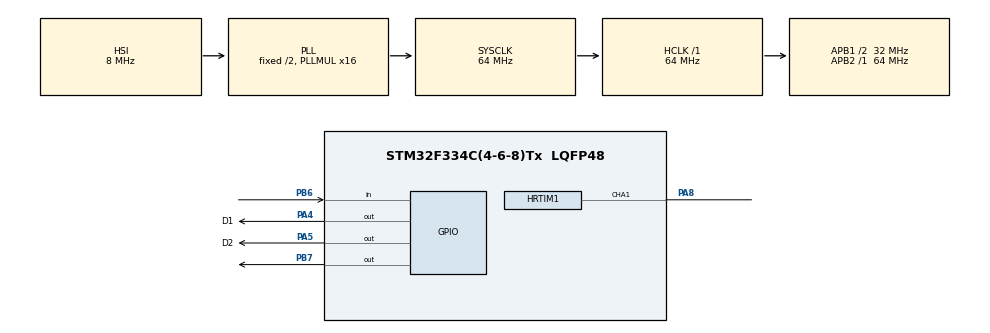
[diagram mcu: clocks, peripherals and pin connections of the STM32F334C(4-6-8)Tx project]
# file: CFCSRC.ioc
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HRTIM1.ChopperModeconfig-Output_TA1=__NULL
HRTIM1.CompareUnit1-Output_TA1=HRTIM_COMPAREUNIT_1
HRTIM1.CompareValue1-Output_TA1=400
HRTIM1.Configuration_TA=Waveform
HRTIM1.HRTIMInterruptResquests1=HRTIM_IT_NONE
HRTIM1.InterruptRequests1-Output_TA1=HRTIM_TIM_IT_RST1
HRTIM1.NumberInterruptRequests-Output_TA1=1
HRTIM1.NumberResetSource1-Output_TA1=1
HRTIM1.NumberSetSource1-Output_TA1=1
HRTIM1.OCChannel_TA1=__NULL
HRTIM1.PWMChannel_TA1=HRTIM_OUTPUT_TA1
HRTIM1.PWMPulse_TA1=100
HRTIM1.Periode_TA=800
HRTIM1.Polarity1-Output_TA1=HRTIM_OUTPUTPOLARITY_HIGH
HRTIM1.PreloadEnable-Output_TA1=HRTIM_PRELOAD_ENABLED
HRTIM1.PrescalerRatio_TA=HRTIM_PRESCALERRATIO_DIV1
HRTIM1.RepetitionCounter-Output_TA1=0x00
HRTIM1.ResetOutput1_Source1-Output_TA1=HRTIM_OUTPUTRESET_TIMPER
HRTIM1.ResetUpdate-Output_TA1=HRTIM_TIMUPDATEONRESET_ENABLED
HRTIM1.SetOutput1_Source1-Output_TA1=HRTIM_OUTPUTSET_TIMCMP1
Mcu.Family=STM32F3
Mcu.Name=STM32F334C(4-6-8)Tx
Mcu.Package=LQFP48
NVIC.HRTIM1_TIMA_IRQn=true\:0\:0\:true\:false\:true\:true
NVIC.PriorityGroup=NVIC_PRIORITYGROUP_4
NVIC.RCC_IRQn=true\:1\:0\:true\:false\:true\:true
PA4.GPIO_Label=D1
PA4.GPIO_PuPd=GPIO_PULLUP
PA4.GPIO_Speed=GPIO_SPEED_FREQ_MEDIUM
PA4.PinState=GPIO_PIN_SET
PA4.Signal=GPIO_Output
PA5.GPIO_Label=D2
PA5.GPIO_PuPd=GPIO_PULLDOWN
PA5.GPIO_Speed=GPIO_SPEED_FREQ_HIGH
PA5.Signal=GPIO_Output
PA8.GPIO_PuPd=GPIO_NOPULL
PA8.Mode=Output_TA1
PA8.Signal=HRTIM1_CHA1
PB6.GPIO_PuPd=GPIO_PULLDOWN
PB6.Signal=GPIO_Input
PB7.GPIO_PuPd=GPIO_PULLUP
PB7.PinState=GPIO_PIN_SET
PB7.Signal=GPIO_Output
ProjectManager.HeapSize=0x200
ProjectManager.StackSize=0x400
ProjectManager.TargetToolchain=TrueSTUDIO
RCC.AHBFreq_Value=64000000
RCC.APB1CLKDivider=RCC_HCLK_DIV2
RCC.APB1Freq_Value=32000000
RCC.APB1TimFreq_Value=64000000
RCC.APB2Freq_Value=64000000
RCC.APB2TimFreq_Value=64000000
RCC.CortexFreq_Value=64000000
RCC.HCLKFreq_Value=64000000
RCC.HSE_VALUE=8000000
RCC.HSI_VALUE=8000000
RCC.LSE_VALUE=32768
RCC.PLLMUL=RCC_PLL_MUL16
RCC.SYSCLKFreq_VALUE=64000000
RCC.SYSCLKSourceVirtual=RCC_SYSCLKSOURCE_PLLCLK
board=CFCSRC

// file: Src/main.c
/**
  ******************************************************************************
  * File Name          : main.c
  * Description        : Main program body
  ******************************************************************************
  ** This notice applies to any and all portions of this file
  * that are not between comment pairs USER CODE BEGIN and
  * USER CODE END. Other portions of this file, whether
  * inserted by the user or by software development tools
  * are owned by their respective copyright owners.
  *
  * COPYRIGHT(c) 2017 STMicroelectronics
  *
  * Redistribution and use in source and binary forms, with or without modification,
  * are permitted provided that the following conditions are met:
  *   1. Redistributions of source code must retain the above copyright notice,
  *      this list of conditions and the following disclaimer.
  *   2. Redistributions in binary form must reproduce the above copyright notice,
  *      this list of conditions and the following disclaimer in the documentation
  *      and/or other materials provided with the distribution.
  *   3. Neither the name of STMicroelectronics nor the names of its contributors
  *      may be used to endorse or promote products derived from this software
  *      without specific prior written permission.
  *
  * THIS SOFTWARE IS PROVIDED BY THE COPYRIGHT HOLDERS AND CONTRIBUTORS "AS IS"
  * AND ANY EXPRESS OR IMPLIED WARRANTIES, INCLUDING, BUT NOT LIMITED TO, THE
  * IMPLIED WARRANTIES OF MERCHANTABILITY AND FITNESS FOR A PARTICULAR PURPOSE ARE
  * DISCLAIMED. IN NO EVENT SHALL THE COPYRIGHT HOLDER OR CONTRIBUTORS BE LIABLE
  * FOR ANY DIRECT, INDIRECT, INCIDENTAL, SPECIAL, EXEMPLARY, OR CONSEQUENTIAL
  * DAMAGES (INCLUDING, BUT NOT LIMITED TO, PROCUREMENT OF SUBSTITUTE GOODS OR
  * SERVICES; LOSS OF USE, DATA, OR PROFITS; OR BUSINESS INTERRUPTION) HOWEVER
  * CAUSED AND ON ANY THEORY OF LIABILITY, WHETHER IN CONTRACT, STRICT LIABILITY,
  * OR TORT (INCLUDING NEGLIGENCE OR OTHERWISE) ARISING IN ANY WAY OUT OF THE USE
  * OF THIS SOFTWARE, EVEN IF ADVISED OF THE POSSIBILITY OF SUCH DAMAGE.
  *
  ******************************************************************************
  */
#include "main.h"
#include "stm32f3xx_hal.h"

/* USER CODE BEGIN Includes */

// HRTIM constants and macros
#define kSystemClock 64000000
#define kTimerClockPrescale 1
#define kTimerPllMult 16
#define kTimerTicksPerSecond kSystemClock*kTimerClockPrescale
#define getTicksFromFreq(freq) (kTimerTicksPerSecond/freq)
#define getTicksFromDutyCycle(freq, duty) duty*getTicksFromFreq(freq)

/* USER CODE END Includes */

HRTIM_HandleTypeDef hhrtim1;

/* USER CODE BEGIN PV */
/* Private variables ---------------------------------------------------------*/

/* USER CODE END PV */

void SystemClock_Config(void);
static void MX_GPIO_Init(void);
static void MX_HRTIM1_Init(void);
void HAL_HRTIM_MspPostInit(HRTIM_HandleTypeDef *hhrtim);

/* USER CODE BEGIN PFP */
/* Private function prototypes -----------------------------------------------*/

/* USER CODE END PFP */

/* USER CODE BEGIN 0 */

uint32_t hrtim1_per_register = 0;
uint32_t hrtim1_cmp1_register = 0;

void timerSetFrequency(uint32_t freq) {
	HRTIM1->sTimerxRegs[HRTIM_TIMERINDEX_TIMER_A].PERxR = getTicksFromFreq(freq);
	hrtim1_per_register = HRTIM1->sTimerxRegs[HRTIM_TIMERINDEX_TIMER_A].PERxR;
}

void timerSetdutyCycle(uint32_t duty, uint32_t freq) {
	HRTIM1->sTimerxRegs[HRTIM_TIMERINDEX_TIMER_A].CMP1xR = (duty*getTicksFromFreq(freq))/(1000*100);
	hrtim1_cmp1_register = HRTIM1->sTimerxRegs[HRTIM_TIMERINDEX_TIMER_A].CMP1xR;
}

/* USER CODE END 0 */

int main(void)
{

  /* MCU Configuration----------------------------------------------------------*/

  /* Reset of all peripherals, Initializes the Flash interface and the Systick. */
  HAL_Init();

  /* Configure the system clock */
  SystemClock_Config();

  /* Initialize all configured peripherals */
  MX_GPIO_Init();
  MX_HRTIM1_Init();

  /* USER CODE BEGIN 2 */

  // Start HRTIM
  //HAL_HRTIM_WaveformOutputStart(&hhrtim1, HRTIM_OUTPUT_TA1);
  //HAL_HRTIM_WaveformCounterStart_IT(&hhrtim1, HRTIM_TIMERID_TIMER_A);
  timerSetFrequency(300000);
  timerSetdutyCycle(50*1000, 300000);
  /* USER CODE END 2 */

  /* Infinite loop */
  while (1)
  {

  }

}

/** System Clock Configuration
*/
void SystemClock_Config(void)
{

  RCC_OscInitTypeDef RCC_OscInitStruct;
  RCC_ClkInitTypeDef RCC_ClkInitStruct;
  RCC_PeriphCLKInitTypeDef PeriphClkInit;

    /**Initializes the CPU, AHB and APB busses clocks
    */
  RCC_OscInitStruct.OscillatorType = RCC_OSCILLATORTYPE_HSI;
  RCC_OscInitStruct.HSIState = RCC_HSI_ON;
  RCC_OscInitStruct.HSICalibrationValue = 16;
  RCC_OscInitStruct.PLL.PLLState = RCC_PLL_ON;
  RCC_OscInitStruct.PLL.PLLSource = RCC_PLLSOURCE_HSI;
  RCC_OscInitStruct.PLL.PLLMUL = RCC_PLL_MUL16;
  if (HAL_RCC_OscConfig(&RCC_OscInitStruct) != HAL_OK)
  {
    _Error_Handler(__FILE__, __LINE__);
  }

    /**Initializes the CPU, AHB and APB busses clocks
    */
  RCC_ClkInitStruct.ClockType = RCC_CLOCKTYPE_HCLK|RCC_CLOCKTYPE_SYSCLK
                              |RCC_CLOCKTYPE_PCLK1|RCC_CLOCKTYPE_PCLK2;
  RCC_ClkInitStruct.SYSCLKSource = RCC_SYSCLKSOURCE_PLLCLK;
  RCC_ClkInitStruct.AHBCLKDivider = RCC_SYSCLK_DIV1;
  RCC_ClkInitStruct.APB1CLKDivider = RCC_HCLK_DIV2;
  RCC_ClkInitStruct.APB2CLKDivider = RCC_HCLK_DIV1;

  if (HAL_RCC_ClockConfig(&RCC_ClkInitStruct, FLASH_LATENCY_2) != HAL_OK)
  {
    _Error_Handler(__FILE__, __LINE__);
  }

  PeriphClkInit.PeriphClockSelection = RCC_PERIPHCLK_HRTIM1;
  PeriphClkInit.Hrtim1ClockSelection = RCC_HRTIM1CLK_HCLK;
  if (HAL_RCCEx_PeriphCLKConfig(&PeriphClkInit) != HAL_OK)
  {
    _Error_Handler(__FILE__, __LINE__);
  }

    /**Configure the Systick interrupt time
    */
  HAL_SYSTICK_Config(HAL_RCC_GetHCLKFreq()/1000);

    /**Configure the Systick
    */
  HAL_SYSTICK_CLKSourceConfig(SYSTICK_CLKSOURCE_HCLK);

  /* SysTick_IRQn interrupt configuration */
  HAL_NVIC_SetPriority(SysTick_IRQn, 0, 0);
}

/* HRTIM1 init function */
static void MX_HRTIM1_Init(void)
{

  HRTIM_TimeBaseCfgTypeDef pTimeBaseCfg;
  HRTIM_TimerCfgTypeDef pTimerCfg;
  HRTIM_CompareCfgTypeDef pCompareCfg;
  HRTIM_OutputCfgTypeDef pOutputCfg;

  hhrtim1.Instance = HRTIM1;
  hhrtim1.Init.HRTIMInterruptResquests = HRTIM_IT_NONE;
  hhrtim1.Init.SyncOptions = HRTIM_SYNCOPTION_NONE;
  if (HAL_HRTIM_Init(&hhrtim1) != HAL_OK)
  {
    _Error_Handler(__FILE__, __LINE__);
  }

  pTimeBaseCfg.Period = 800;
  pTimeBaseCfg.RepetitionCounter = 0x00;
  pTimeBaseCfg.PrescalerRatio = HRTIM_PRESCALERRATIO_DIV1;
  pTimeBaseCfg.Mode = HRTIM_MODE_CONTINUOUS;
  if (HAL_HRTIM_TimeBaseConfig(&hhrtim1, HRTIM_TIMERINDEX_TIMER_A, &pTimeBaseCfg) != HAL_OK)
  {
    _Error_Handler(__FILE__, __LINE__);
  }

  pTimerCfg.InterruptRequests = HRTIM_TIM_IT_RST1;
  pTimerCfg.DMARequests = HRTIM_TIM_DMA_NONE;
  pTimerCfg.DMASrcAddress = 0x0000;
  pTimerCfg.DMADstAddress = 0x0000;
  pTimerCfg.DMASize = 0x1;
  pTimerCfg.HalfModeEnable = HRTIM_HALFMODE_DISABLED;
  pTimerCfg.StartOnSync = HRTIM_SYNCSTART_DISABLED;
  pTimerCfg.ResetOnSync = HRTIM_SYNCRESET_DISABLED;
  pTimerCfg.DACSynchro = HRTIM_DACSYNC_NONE;
  pTimerCfg.PreloadEnable = HRTIM_PRELOAD_ENABLED;
  pTimerCfg.UpdateGating = HRTIM_UPDATEGATING_INDEPENDENT;
  pTimerCfg.BurstMode = HRTIM_TIMERBURSTMODE_MAINTAINCLOCK;
  pTimerCfg.RepetitionUpdate = HRTIM_UPDATEONREPETITION_DISABLED;
  pTimerCfg.PushPull = HRTIM_TIMPUSHPULLMODE_DISABLED;
  pTimerCfg.FaultEnable = HRTIM_TIMFAULTENABLE_NONE;
  pTimerCfg.FaultLock = HRTIM_TIMFAULTLOCK_READWRITE;
  pTimerCfg.DeadTimeInsertion = HRTIM_TIMDEADTIMEINSERTION_DISABLED;
  pTimerCfg.DelayedProtectionMode = HRTIM_TIMER_A_B_C_DELAYEDPROTECTION_DISABLED;
  pTimerCfg.UpdateTrigger = HRTIM_TIMUPDATETRIGGER_NONE;
  pTimerCfg.ResetTrigger = HRTIM_TIMRESETTRIGGER_NONE;
  pTimerCfg.ResetUpdate = HRTIM_TIMUPDATEONRESET_ENABLED;
  if (HAL_HRTIM_WaveformTimerConfig(&hhrtim1, HRTIM_TIMERINDEX_TIMER_A, &pTimerCfg) != HAL_OK)
  {
    _Error_Handler(__FILE__, __LINE__);
  }

  pCompareCfg.CompareValue = 400;
  if (HAL_HRTIM_WaveformCompareConfig(&hhrtim1, HRTIM_TIMERINDEX_TIMER_A, HRTIM_COMPAREUNIT_1, &pCompareCfg) != HAL_OK)
  {
    _Error_Handler(__FILE__, __LINE__);
  }

  pOutputCfg.Polarity = HRTIM_OUTPUTPOLARITY_HIGH;
  pOutputCfg.SetSource = HRTIM_OUTPUTSET_TIMCMP1;
  pOutputCfg.ResetSource = HRTIM_OUTPUTRESET_TIMPER;
  pOutputCfg.IdleMode = HRTIM_OUTPUTIDLEMODE_NONE;
  pOutputCfg.IdleLevel = HRTIM_OUTPUTIDLELEVEL_INACTIVE;
  pOutputCfg.FaultLevel = HRTIM_OUTPUTFAULTLEVEL_NONE;
  pOutputCfg.ChopperModeEnable = HRTIM_OUTPUTCHOPPERMODE_DISABLED;
  pOutputCfg.BurstModeEntryDelayed = HRTIM_OUTPUTBURSTMODEENTRY_REGULAR;
  if (HAL_HRTIM_WaveformOutputConfig(&hhrtim1, HRTIM_TIMERINDEX_TIMER_A, HRTIM_OUTPUT_TA1, &pOutputCfg) != HAL_OK)
  {
    _Error_Handler(__FILE__, __LINE__);
  }

  HAL_HRTIM_MspPostInit(&hhrtim1);

}

/** Configure pins as
        * Analog
        * Input
        * Output
        * EVENT_OUT
        * EXTI
*/
static void MX_GPIO_Init(void)
{

  GPIO_InitTypeDef GPIO_InitStruct;

  /* GPIO Ports Clock Enable */
  __HAL_RCC_GPIOA_CLK_ENABLE();
  __HAL_RCC_GPIOB_CLK_ENABLE();

  /*Configure GPIO pin Output Level */
  HAL_GPIO_WritePin(D1_GPIO_Port, D1_Pin, GPIO_PIN_SET);

  /*Configure GPIO pin Output Level */
  HAL_GPIO_WritePin(D2_GPIO_Port, D2_Pin, GPIO_PIN_RESET);

  /*Configure GPIO pin Output Level */
  HAL_GPIO_WritePin(GPIOB, GPIO_PIN_7, GPIO_PIN_SET);

  /*Configure GPIO pin : D1_Pin */
  GPIO_InitStruct.Pin = D1_Pin;
  GPIO_InitStruct.Mode = GPIO_MODE_OUTPUT_PP;
  GPIO_InitStruct.Pull = GPIO_PULLUP;
  GPIO_InitStruct.Speed = GPIO_SPEED_FREQ_MEDIUM;
  HAL_GPIO_Init(D1_GPIO_Port, &GPIO_InitStruct);

  /*Configure GPIO pin : D2_Pin */
  GPIO_InitStruct.Pin = D2_Pin;
  GPIO_InitStruct.Mode = GPIO_MODE_OUTPUT_PP;
  GPIO_InitStruct.Pull = GPIO_PULLDOWN;
  GPIO_InitStruct.Speed = GPIO_SPEED_FREQ_HIGH;
  HAL_GPIO_Init(D2_GPIO_Port, &GPIO_InitStruct);

  /*Configure GPIO pin : PB6 */
  GPIO_InitStruct.Pin = GPIO_PIN_6;
  GPIO_InitStruct.Mode = GPIO_MODE_INPUT;
  GPIO_InitStruct.Pull = GPIO_PULLDOWN;
  HAL_GPIO_Init(GPIOB, &GPIO_InitStruct);

  /*Configure GPIO pin : PB7 */
  GPIO_InitStruct.Pin = GPIO_PIN_7;
  GPIO_InitStruct.Mode = GPIO_MODE_OUTPUT_PP;
  GPIO_InitStruct.Pull = GPIO_PULLUP;
  GPIO_InitStruct.Speed = GPIO_SPEED_FREQ_LOW;
  HAL_GPIO_Init(GPIOB, &GPIO_InitStruct);

}

void _Error_Handler(char * file, int line)
{
  while(1)
  {
  }
}

/************************ (C) COPYRIGHT STMicroelectronics *****END OF FILE****/
